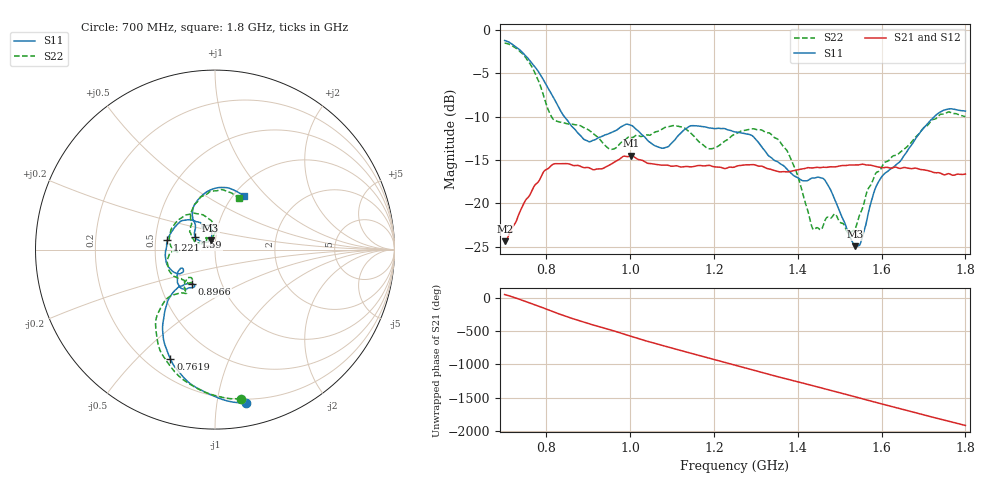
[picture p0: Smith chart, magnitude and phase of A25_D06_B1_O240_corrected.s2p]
! Created with skrf 1.9.0 (http://scikit-rf.org).
# Hz S RI R 50.0
!freq ReS11 ImS11 ReS21 ImS21 ReS12 ImS12 ReS22 ImS22
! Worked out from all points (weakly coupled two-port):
!   1601 points, 700 MHz to 1.8 GHz, reference 50 ohm
!   highest |S21| = -14.52 dB at 1.002 GHz (marker M1); lowest = -24.4 dB at 700.7 MHz (marker M2)
!   lowest |S11| = -25.0 dB at 1.537 GHz (marker M3), VSWR 1.12, Z = 47.4 + j4.84 ohm
!   |S11| at or under -10 dB: 842.6 MHz to 1.726 GHz (883.1 MHz wide, 68.8 % of centre)
!   |S22| runs from -23.5 to -1.5 dB; largest |S21 - S12| = 0.0035
!   S11 on the Smith chart (normalised r, x): 700 MHz: 0.17, -1.21; 761.9 MHz: 0.29, -0.63; 896.6 MHz: 0.72, -0.29; 1.221 GHz: 0.58, +0.07; 1.59 GHz: 0.80, +0.11; 1.8 GHz: 1.12, +0.76
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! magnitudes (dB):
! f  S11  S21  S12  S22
! 700 MHz  -1.2  -24.4  -24.2  -1.5
! 700.7 MHz  -1.2  -24.4  -24.1  -1.5
! 761.9 MHz  -3.6  -18.9  -18.8  -4.0
! 815.5 MHz  -7.7  -15.5  -15.6  -10.3
! 883.6 MHz  -12.3  -15.8  -15.7  -11.1
! 896.6 MHz  -12.8  -15.9  -15.9  -11.4
! 953.7 MHz  -11.9  -15.5  -15.5  -13.8
! 1.002 GHz  -11.0  -14.5  -14.6  -12.4
! 1.067 GHz  -13.5  -15.6  -15.5  -11.7
! 1.144 GHz  -11.1  -15.8  -15.8  -11.9
! 1.221 GHz  -11.4  -15.9  -16.0  -13.0
! 1.25 GHz  -11.8  -15.8  -15.7  -12.0
! 1.356 GHz  -15.3  -16.4  -16.3  -12.8
! 1.394 GHz  -16.9  -16.2  -16.2  -16.1
! 1.434 GHz  -17.1  -15.9  -15.9  -22.7
! 1.469 GHz  -17.6  -15.9  -15.8  -21.7
! 1.537 GHz  -25.0  -15.6  -15.6  -23.0
! 1.551 GHz  -24.4  -15.5  -15.5  -20.9
! 1.59 GHz  -17.8  -15.8  -15.8  -16.4
! 1.617 GHz  -16.2  -15.9  -15.9  -15.1
! 1.733 GHz  -9.7  -16.5  -16.5  -10.1
! 1.8 GHz  -9.4  -16.6  -16.6  -10.0
